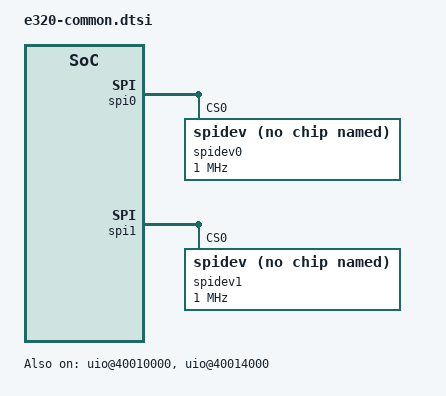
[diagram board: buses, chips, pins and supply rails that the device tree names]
// SPDX-License-Identifier: GPL-2.0 OR X11
/*
 * Copyright (c) 2018 National Instruments Corp
 */

&fpga_full {
	uio@40010000 {
		compatible = "usrp-uio";
		reg = <0x40010000 0x2000>;
		reg-names = "mboard-regs";
		status = "okay";
	};

	uio@40014000 {
		compatible = "usrp-uio";
		reg = <0x40014000 0x4000>;
		reg-names = "dboard-regs";
		status = "okay";
	};
};

&spi0 {
	status = "okay";

	cs-gpios = <0>, <0>, <0>, <&gpio0 62 0>;

	spidev0: spidev@0 {
		compatible = "rohm,dh2228fv";
		reg = <0>;
		status = "okay";
		spi-max-frequency = <1000000>;
	};
};

&spi1 {
	status = "okay";

	cs-gpios = <0>, <0>, <0>, <&gpio0 63 0>;

	spidev1: spidev@0 {
		compatible = "rohm,dh2228fv";
		reg = <0>;
		status = "okay";
		spi-max-frequency = <1000000>;
	};
};
